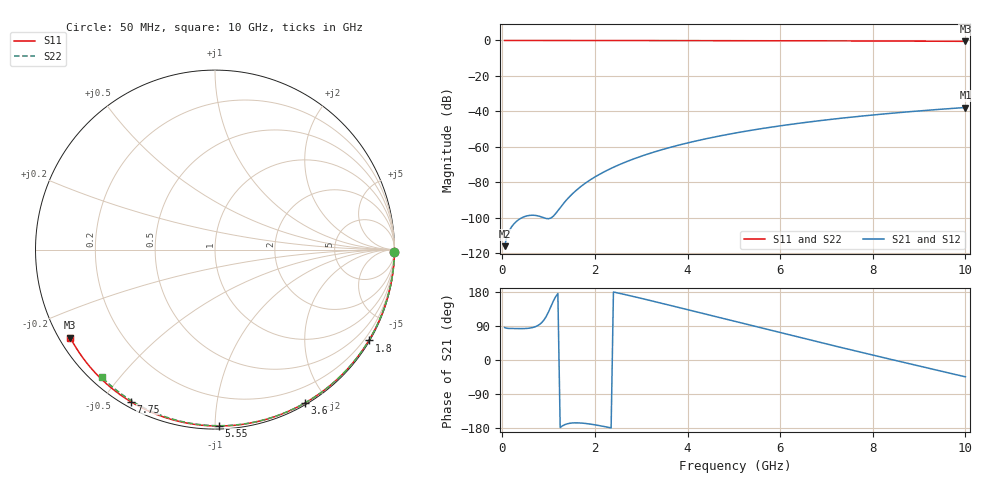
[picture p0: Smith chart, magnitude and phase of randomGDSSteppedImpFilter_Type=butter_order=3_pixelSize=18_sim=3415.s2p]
! freq	dB(S11)	phase(S11)	dB(S12)	phase(S12)
!  dB(S21)	phase(S21)	dB(S22)	phase(S22)
!S-par simulation data
#  GHz  S  DB  R 50
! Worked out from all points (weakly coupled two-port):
!   200 points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, 50 MHz to 10 GHz, reference 50 ohm
!   highest |S21| = -37.80 dB at 10 GHz (marker M1); lowest = -116.0 dB at 50 MHz (marker M2)
!   lowest |S11| = -0.5 dB at 10 GHz (marker M3), VSWR 34.60, Z = 1.56 - j14 ohm
!   |S11| at or under -10 dB: nowhere
!   |S22| runs from -0.4 to 0.0 dB; largest |S21 - S12| = 0
!   S11 on the Smith chart (normalised r, x): 50 MHz: open; 1.8 GHz: 0.03, -3.66; 3.6 GHz: 0.02, -1.75; 5.55 GHz: 0.02, -1.02; 7.75 GHz: 0.02, -0.59; 10 GHz: 0.03, -0.28
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0.05  -0.00 -0.9  -115.97 85.6  -115.97 85.6  -0.00 -0.8
0.45  -0.01 -7.8  -99.61 82.9  -99.61 82.9  -0.01 -6.8
0.9  -0.02 -15.4  -99.99 105.5  -99.99 105.5  -0.02 -13.6
1.3  -0.03 -22.2  -92.60 -173.7  -92.60 -173.7  -0.02 -19.6
1.75  -0.04 -29.7  -81.28 -166.9  -81.28 -166.9  -0.03 -26.2
1.8  -0.04 -30.6  -80.33 -167.5  -80.33 -167.5  -0.03 -26.9
1.85  -0.04 -31.4  -79.43 -168.3  -79.43 -168.3  -0.04 -27.7
2  -0.04 -33.9  -76.95 -171.0  -76.95 -171.0  -0.04 -29.9
2.15  -0.05 -36.3  -74.74 -174.3  -74.74 -174.3  -0.04 -32.0
2.5  -0.05 -42.1  -70.32 176.8  -70.32 176.8  -0.05 -37.1
2.9  -0.06 -48.5  -66.18 165.6  -66.18 165.6  -0.06 -42.8
3.4  -0.08 -56.5  -61.93 150.9  -61.93 150.9  -0.07 -49.9
3.6  -0.08 -59.6  -60.45 144.9  -60.45 144.9  -0.07 -52.7
4.3  -0.10 -70.3  -55.98 123.7  -55.98 123.7  -0.09 -62.2
5.05  -0.13 -81.5  -52.10 100.9  -52.10 100.9  -0.11 -72.2
5.55  -0.15 -88.7  -49.90 85.8  -49.90 85.8  -0.13 -78.7
6.1  -0.17 -96.5  -47.76 69.2  -47.76 69.2  -0.15 -85.6
6.7  -0.20 -104.8  -45.71 51.3  -45.71 51.3  -0.18 -93.0
7.75  -0.28 -119.0  -42.66 20.3  -42.66 20.3  -0.24 -105.6
8.35  -0.33 -126.9  -41.17 2.9  -41.17 2.9  -0.29 -112.6
9.2  -0.41 -138.1  -39.31 -21.6  -39.31 -21.6  -0.36 -122.4
10  -0.50 -148.7  -37.80 -44.4  -37.80 -44.4  -0.44 -131.4
